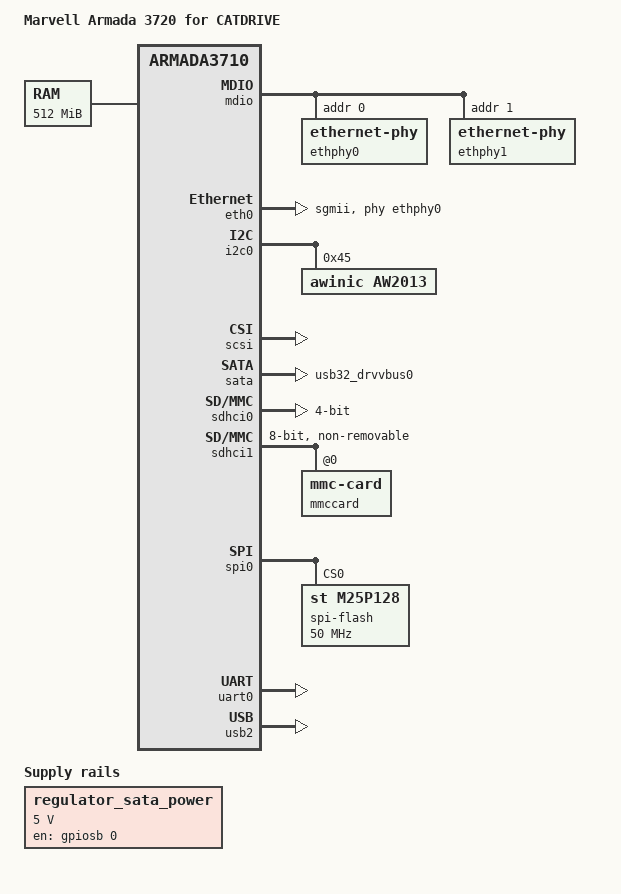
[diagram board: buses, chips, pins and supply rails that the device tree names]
/*
 * Device Tree file for Marvell Armada 3720 development board
 * (DB-88F3720-DDR3)
 * Copyright (C) 2016 Marvell
 *
 * Gregory CLEMENT <gregory.clement@free-electrons.com>
 *
 * This file is dual-licensed: you can use it either under the terms
 * of the GPL or the X11 license, at your option. Note that this dual
 * licensing only applies to this file, and not this project as a
 * whole.
 *
 *  a) This file is free software; you can redistribute it and/or
 *     modify it under the terms of the GNU General Public License as
 *     published by the Free Software Foundation; either version 2 of the
 *     License, or (at your option) any later version.
 *
 *     This file is distributed in the hope that it will be useful
 *     but WITHOUT ANY WARRANTY; without even the implied warranty of
 *     MERCHANTABILITY or FITNESS FOR A PARTICULAR PURPOSE.  See the
 *     GNU General Public License for more details.
 *
 * Or, alternatively
 *
 *  b) Permission is hereby granted, free of charge, to any person
 *     obtaining a copy of this software and associated documentation
 *     files (the "Software"), to deal in the Software without
 *     restriction, including without limitation the rights to use
 *     copy, modify, merge, publish, distribute, sublicense, and/or
 *     sell copies of the Software, and to permit persons to whom the
 *     Software is furnished to do so, subject to the following
 *     conditions:
 *
 *     The above copyright notice and this permission notice shall be
 *     included in all copies or substantial portions of the Software.
 *
 *     THE SOFTWARE IS PROVIDED , WITHOUT WARRANTY OF ANY KIND
 *     EXPRESS OR IMPLIED, INCLUDING BUT NOT LIMITED TO THE WARRANTIES
 *     OF MERCHANTABILITY, FITNESS FOR A PARTICULAR PURPOSE AND
 *     NONINFRINGEMENT. IN NO EVENT SHALL THE AUTHORS OR COPYRIGHT
 *     HOLDERS BE LIABLE FOR ANY CLAIM, DAMAGES OR OTHER LIABILITY
 *     WHETHER IN AN ACTION OF CONTRACT, TORT OR OTHERWISE, ARISING
 *     FROM, OUT OF OR IN CONNECTION WITH THE SOFTWARE OR THE USE OR
 *     OTHER DEALINGS IN THE SOFTWARE.
 */

/dts-v1/;

#include "armada-372x.dtsi"

/ {
	model = "Marvell Armada 3720 for CATDRIVE";
	compatible = "marvell,armada-3720-db-v2", "marvell,armada3720", "marvell,armada3710";

	chosen {
		stdout-path = "serial0:115200n8";
	};

	aliases {
		ethernet0 = &eth0;
		i2c0 = &i2c0;
		spi0 = &spi0;
	};

	memory {
		device_type = "memory";
		reg = <0x00000000 0x00000000 0x00000000 0x20000000>;
	};
	regulator_sata_power: sata-power-regulator {
		compatible = "regulator-fixed";
		regulator-name = "sata-power";
		regulator-min-microvolt = <5000000>;
		regulator-max-microvolt = <5000000>;
		enable-active-high;
		startup-delay-us = <200000>;
		gpio = <&gpiosb 0 GPIO_ACTIVE_HIGH>;
	};

};

&comphy {
	phy0 {
		phy-type = <COMPHY_TYPE_USB3>;
		phy-speed = <COMPHY_SPEED_5G>;
	};

	phy1 {
		phy-type = <COMPHY_TYPE_SGMII0>;
		phy-speed = <COMPHY_SPEED_1_25G>;
	};

	phy2 {
		phy-type = <COMPHY_TYPE_SATA0>;
		phy-speed = <COMPHY_SPEED_6G>;
		phy-invert = <COMPHY_POLARITY_NO_INVERT>;
	};
};

&mdio {
	ethphy0: ethernet-phy@0 {
		reg = <0>;
	};
	ethphy1: ethernet-phy@1 {
		reg = <1>;
	};
};

&eth0 {
	pinctrl-names = "default";
	pinctrl-0 = <&smi_pins>;
	phy-mode = "sgmii";
	phy = <&ethphy0>;
	status = "okay";
};

&i2c0 {
	pinctrl-names = "default";
	pinctrl-0 = <&i2c1_pins>;
	status = "okay";
	aw2013@45 {
		compatible = "awinic,aw2013";
        reg = <0x45>;
		status = "okay";
		max-brightness = <255>;
		max-current = <3>;
		rise-time-ms = <2>;
		hold-time-ms = <1>;
		fall-time-ms = <2>;
		off-time-ms = <1>;
		breathing-id = <2>;
	};
};

&scsi {
	status = "okay";
};

&pinctrl_sb{
	usb32_drvvbus0:usb32_drvvbus0-pins{
		groups = "usb32_drvvbus0";
		unction = "gpio";
	};
};

/* CON3 */
&sata {
	pinctrl-names = "default";
	pinctrl-0 = <&usb32_drvvbus0>;
	power-supply = <&regulator_sata_power>;
	status = "okay";
};

&sdhci0 {
	bus-width = <4>;
	//vqmmc-supply = <&vcc_sd_reg0>;
	pinctrl-names = "default";
	pinctrl-0 = <&sdio_pins>;
	status = "okay";
};


&sdhci1 {
	non-removable;
	bus-width = <8>;
	mmc-ddr-1_8v;
	mmc-hs400-1_8v;
	marvell,pad-type = "fixed-1-8v";
	pinctrl-names = "default";
	pinctrl-0 = <&mmc_pins>;
	status = "okay";

	#address-cells = <1>;
	#size-cells = <0>;
	mmccard: mmccard@0 {
		compatible = "mmc-card";
		reg = <0>;
	};
};

&spi0 {
	status = "okay";
	pinctrl-names = "default";
	pinctrl-0 = <&spi_quad_pins>;

	spi-flash@0 {
		#address-cells = <1>;
		#size-cells = <1>;
		compatible = "st,m25p128", "spi-flash";
		reg = <0>; /* Chip select 0 */
		spi-max-frequency = <50000000>;
		/*spi-rx-bus-width = <4>;
		spi-tx-bus-width = <4>;*/
		m25p,fast-read;
	};
};

/* Exported on the micro USB connector CON32 through an FTDI */
&uart0 {
	pinctrl-names = "default";
	pinctrl-0 = <&uart1_pins>;
	status = "okay";
};

/* CON29 */
&usb2 {
	status = "okay";
};
